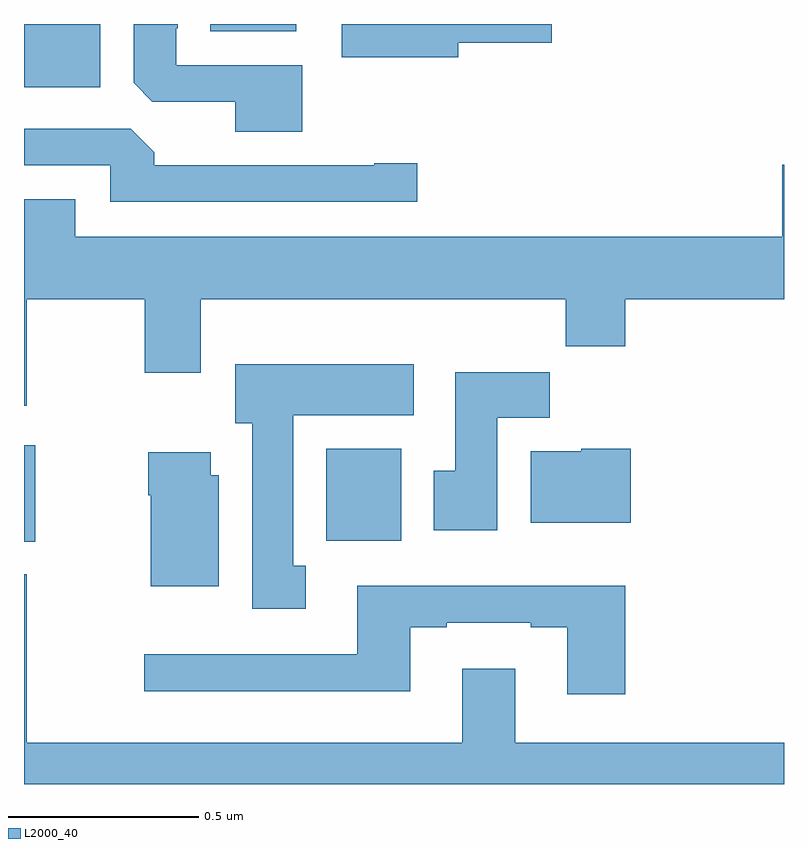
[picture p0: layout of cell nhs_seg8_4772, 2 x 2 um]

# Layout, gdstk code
import gdstk
lib = gdstk.Library(unit=1e-6, precision=1e-09)
def R(c, l, rs):  # rectangles x0, y0, x1, y1
    for r in rs: c.add(gdstk.rectangle(r[:2], r[2:], *l))
def P(c, l, *ps):  # polygons
    for p in ps: c.add(gdstk.Polygon(p, *l))
L2000_40 = (2000, 40)

nhs_seg8_4772 = lib.new_cell('nhs_seg8_4772')
R(nhs_seg8_4772, L2000_40, [(175,1106.537,175.03,1106.791), (175.796,1106.54,175.993,1106.782), (175,1107.734,175.201,1107.9), (175.49,1107.881,175.717,1107.9)])
P(nhs_seg8_4772, L2000_40, [(176.143,1107.851),(176.389,1107.851),(176.389,1107.9),(175.836,1107.9),(175.836,1107.812),(176.143,1107.812)],
  [(175.732,1107.792),(175.401,1107.792),(175.401,1107.889),(175.405,1107.889),(175.405,1107.9),(175.289,1107.9),(175.289,1107.745),(175.338,1107.696),(175.556,1107.696),(175.556,1107.617),(175.732,1107.617)],
  [(176.035,1107.533),(175.922,1107.533),(175.922,1107.528),(175.343,1107.528),(175.343,1107.562),(175.281,1107.624),(175,1107.624),(175,1107.528),(175.227,1107.528),(175.227,1107.432),(176.035,1107.432)],
  [(175.007,1107.176),(175.318,1107.176),(175.318,1106.982),(175.465,1106.982),(175.465,1107.176),(176.425,1107.176),(176.425,1107.052),(176.582,1107.052),(176.582,1107.176),(177,1107.176),(177,1107.529),(176.996,1107.529),(176.996,1107.34),(175.135,1107.34),(175.135,1107.439),(175,1107.439),(175,1106.895),(175.007,1106.895)],
  [(175.741,1106.474),(175.708,1106.474),(175.708,1106.87),(176.026,1106.87),(176.026,1107.004),(175.556,1107.004),(175.556,1106.85),(175.601,1106.85),(175.601,1106.361),(175.741,1106.361)],
  [(176.245,1106.864),(176.384,1106.864),(176.384,1106.983),(176.135,1106.983),(176.135,1106.724),(176.078,1106.724),(176.078,1106.568),(176.245,1106.568)],
  [(176.597,1106.782),(176.466,1106.782),(176.466,1106.776),(176.333,1106.776),(176.333,1106.588),(176.597,1106.588)],
  [(175.513,1106.712),(175.492,1106.712),(175.492,1106.773),(175.327,1106.773),(175.327,1106.66),(175.334,1106.66),(175.334,1106.42),(175.513,1106.42)],
  [(175,1106.452),(175,1105.9),(177,1105.9),(177,1106.008),(176.293,1106.008),(176.293,1106.203),(176.153,1106.203),(176.153,1106.008),(175.007,1106.008),(175.007,1106.452)],
  [(176.582,1106.422),(175.877,1106.422),(175.877,1106.241),(175.317,1106.241),(175.317,1106.144),(176.017,1106.144),(176.017,1106.313),(176.113,1106.313),(176.113,1106.325),(176.333,1106.325),(176.333,1106.313),(176.429,1106.313),(176.429,1106.136),(176.582,1106.136)])

lib.write_gds('nhs_seg8_4772.gds')
